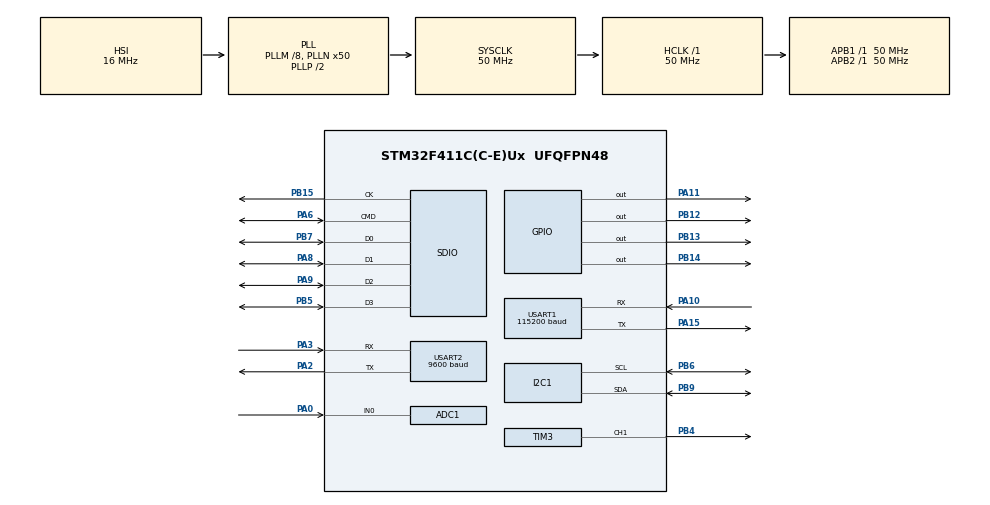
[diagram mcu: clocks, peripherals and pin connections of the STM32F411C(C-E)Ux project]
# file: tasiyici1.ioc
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ADC1.Channel-0\#ChannelRegularConversion=ADC_CHANNEL_0
ADC1.ContinuousConvMode=ENABLE
ADC1.NbrOfConversionFlag=1
ADC1.Rank-0\#ChannelRegularConversion=1
ADC1.SamplingTime-0\#ChannelRegularConversion=ADC_SAMPLETIME_3CYCLES
ADC1.master=1
Dma.Request0=USART1_TX
Dma.Request1=SDIO_TX
Dma.Request2=SDIO_RX
Dma.SDIO_RX.2.Direction=DMA_PERIPH_TO_MEMORY
Dma.SDIO_RX.2.FIFOMode=DMA_FIFOMODE_ENABLE
Dma.SDIO_RX.2.FIFOThreshold=DMA_FIFO_THRESHOLD_FULL
Dma.SDIO_RX.2.Instance=DMA2_Stream6
Dma.SDIO_RX.2.MemBurst=DMA_MBURST_INC4
Dma.SDIO_RX.2.MemDataAlignment=DMA_MDATAALIGN_WORD
Dma.SDIO_RX.2.MemInc=DMA_MINC_ENABLE
Dma.SDIO_RX.2.Mode=DMA_PFCTRL
Dma.SDIO_RX.2.PeriphBurst=DMA_PBURST_INC4
Dma.SDIO_RX.2.PeriphDataAlignment=DMA_PDATAALIGN_WORD
Dma.SDIO_RX.2.PeriphInc=DMA_PINC_DISABLE
Dma.SDIO_RX.2.Priority=DMA_PRIORITY_LOW
Dma.SDIO_TX.1.Direction=DMA_MEMORY_TO_PERIPH
Dma.SDIO_TX.1.FIFOMode=DMA_FIFOMODE_ENABLE
Dma.SDIO_TX.1.FIFOThreshold=DMA_FIFO_THRESHOLD_FULL
Dma.SDIO_TX.1.Instance=DMA2_Stream3
Dma.SDIO_TX.1.MemBurst=DMA_MBURST_INC4
Dma.SDIO_TX.1.MemDataAlignment=DMA_MDATAALIGN_WORD
Dma.SDIO_TX.1.MemInc=DMA_MINC_ENABLE
Dma.SDIO_TX.1.Mode=DMA_PFCTRL
Dma.SDIO_TX.1.PeriphBurst=DMA_PBURST_INC4
Dma.SDIO_TX.1.PeriphDataAlignment=DMA_PDATAALIGN_WORD
Dma.SDIO_TX.1.PeriphInc=DMA_PINC_DISABLE
Dma.SDIO_TX.1.Priority=DMA_PRIORITY_LOW
Dma.USART1_TX.0.Direction=DMA_MEMORY_TO_PERIPH
Dma.USART1_TX.0.FIFOMode=DMA_FIFOMODE_ENABLE
Dma.USART1_TX.0.FIFOThreshold=DMA_FIFO_THRESHOLD_FULL
Dma.USART1_TX.0.Instance=DMA2_Stream7
Dma.USART1_TX.0.MemBurst=DMA_MBURST_SINGLE
Dma.USART1_TX.0.MemDataAlignment=DMA_MDATAALIGN_BYTE
Dma.USART1_TX.0.MemInc=DMA_MINC_ENABLE
Dma.USART1_TX.0.Mode=DMA_CIRCULAR
Dma.USART1_TX.0.PeriphBurst=DMA_PBURST_SINGLE
Dma.USART1_TX.0.PeriphDataAlignment=DMA_PDATAALIGN_BYTE
Dma.USART1_TX.0.PeriphInc=DMA_PINC_DISABLE
Dma.USART1_TX.0.Priority=DMA_PRIORITY_LOW
FATFS.USE_DMA_CODE_SD=1
FATFS._MAX_SS=4096
Mcu.Family=STM32F4
Mcu.Name=STM32F411C(C-E)Ux
Mcu.Package=UFQFPN48
NVIC.DMA2_Stream3_IRQn=true\:0\:0\:false\:false\:true\:false\:true\:true
NVIC.DMA2_Stream6_IRQn=true\:0\:0\:false\:false\:true\:false\:true\:true
NVIC.DMA2_Stream7_IRQn=true\:0\:0\:false\:false\:true\:false\:true\:true
NVIC.PriorityGroup=NVIC_PRIORITYGROUP_4
NVIC.SDIO_IRQn=true\:0\:0\:false\:false\:true\:true\:true\:true
NVIC.USART2_IRQn=true\:0\:0\:false\:false\:true\:true\:true\:true
PA0-WKUP.Signal=ADCx_IN0
PA10.Mode=Asynchronous
PA10.Signal=USART1_RX
PA11.Signal=GPIO_Output
PA13.Mode=Serial_Wire
PA13.Signal=SYS_JTMS-SWDIO
PA14.Mode=Serial_Wire
PA14.Signal=SYS_JTCK-SWCLK
PA15.Mode=Asynchronous
PA15.Signal=USART1_TX
PA2.Mode=Asynchronous
PA2.Signal=USART2_TX
PA3.Mode=Asynchronous
PA3.Signal=USART2_RX
PA6.Mode=SD_4_bits_Wide_bus
PA6.Signal=SDIO_CMD
PA8.Mode=SD_4_bits_Wide_bus
PA8.Signal=SDIO_D1
PA9.Mode=SD_4_bits_Wide_bus
PA9.Signal=SDIO_D2
PB12.Signal=GPIO_Output
PB13.Signal=GPIO_Output
PB14.Signal=GPIO_Output
PB15.Mode=SD_4_bits_Wide_bus
PB15.Signal=SDIO_CK
PB4.Signal=S_TIM3_CH1
PB5.Mode=SD_4_bits_Wide_bus
PB5.Signal=SDIO_D3
PB6.Mode=I2C
PB6.Signal=I2C1_SCL
PB7.Mode=SD_4_bits_Wide_bus
PB7.Signal=SDIO_D0
PB9.Mode=I2C
PB9.Signal=I2C1_SDA
ProjectManager.HeapSize=0x200
ProjectManager.StackSize=0x400
ProjectManager.TargetToolchain=STM32CubeIDE
RCC.48MHZClocksFreq_Value=25000000
RCC.AHBFreq_Value=50000000
RCC.APB1Freq_Value=50000000
RCC.APB1TimFreq_Value=50000000
RCC.APB2Freq_Value=50000000
RCC.APB2TimFreq_Value=50000000
RCC.CortexFreq_Value=50000000
RCC.HCLKFreq_Value=50000000
RCC.HSE_VALUE=25000000
RCC.HSI_VALUE=16000000
RCC.LSE_VALUE=32768
RCC.PLLM=8
RCC.PLLN=50
RCC.SYSCLKFreq_VALUE=50000000
RCC.SYSCLKSource=RCC_SYSCLKSOURCE_PLLCLK
RCC.VCOOutputFreq_Value=100000000
SH.ADCx_IN0.0=ADC1_IN0,IN0
SH.S_TIM3_CH1.0=TIM3_CH1,PWM Generation1 CH1
TIM3.Channel-PWM\ Generation1\ CH1=TIM_CHANNEL_1
TIM3.Period=100-1
TIM3.Prescaler=183-1
USART1.BaudRate=115200
USART1.VirtualMode=VM_ASYNC
USART2.BaudRate=9600
USART2.VirtualMode=VM_ASYNC
VP_FATFS_VS_SDIO.Mode=SDIO
board=custom

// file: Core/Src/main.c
/* USER CODE BEGIN Header */
/**
  ******************************************************************************
  * @file           : main.c
  * @brief          : Main program body
  ******************************************************************************
  @ATTENTION !
  * 	##Explains CubeMX Variables & IO
  *
  * 	--> ADC_HandleTypeDef hadc1;	 ==> It relates to the 	"SubSys_Sensor_Battery_Driver"
  *
  * 	--> I2C_HandleTypeDef hi2c1;   	 ==> It relates to the 	"SubSys_Sensor_TPGVH_Driver"
  *
  * 	--> SD_HandleTypeDef  hsd;	   	 ==> It relates to the 	"SubSys_SDcard_Driver"
  *		--> SDIO_CK frequency 			 ==> 48MHz fixed
  *
  * 	--> TIM_HandleTypeDef htim3;  	 ==> It relates to the 	"SubSys_AlertControl_Driver"
  *
  *		--> UART_HandleTypeDef huart1; 	 ==> It relates to the 	"SubSys_WirelessCommunication_Setting_Driver" & "SubSys_WirelessCommunication_Telemetry_Driver"
  *		--> UART_HandleTypeDef huart2; 	 ==> It relates to the 	"SubSys_Sensor_GPS_Driver"
  *
  *		--> GPIO_TypeDef |PORT->A|	|GPIO_PIN_11| ==> GPS reset pin (will be reset status for enable sensor)
  *						 |PORT->B|	|GPIO_PIN_13| ==> LORA M0 configuration pin
  *						 |PORT->B|	|GPIO_PIN_14| ==> LORA M1 configuration pin
  *
  *
  *		##Wireless Communication configuration parameters
  *
  *		Satellite Carrier Unit's adress will be 0x1923  and channel is 0x10
  *		Satellite Payload Unit's adress will be 0x1453  and channel is 0x05
  *		Satellite Ground Station adress will be 0x2023  and channel is 0x10
  *
  *
  *		##Clean Code explanation
  *		"The __CLOSED expression can be written at the end of the header guard.
  *		 If you remove this part, the related code will work and complied
  ******************************************************************************
  */

/* USER CODE END Header */
#include "main.h"
#include "fatfs.h"

/* USER CODE BEGIN Includes */
	#include "SubSys_Sensor_Battery_Driver.h"
	#include "SubSys_Sensor_TPGVH_Driver.h"
	#include "SubSys_AlertControl_Driver.h"
	#include "SubSys_SDcard_Driver.h"
	#include "SubSys_Sensor_GPS_Driver.h"
	#include "SubSys_WirelessCommunication_Setting_Driver.h"
	#include "SubSys_WirelessCommunication_Telemetry_Driver.h"

/* USER CODE END Includes */

/* USER CODE BEGIN PD */
#define SAT_Carrier_SDCode_Variables_Active
/*
	 ===============================================================================
	                      ##### DEFINITIONS #####
	 ===============================================================================
*/

	/**!
	 * Pressure Temperature Sensor (MS5611) Definitions
	 */
	#define MS5611_I2C_ADDRESS_H 0xEE		/*! CSB pin is HIGH */
	#define MS5611_I2C_ADDRESS_L 0xEC 		/*! CSB pin is LOW  */

/* USER CODE END PD */

ADC_HandleTypeDef hadc1;

I2C_HandleTypeDef hi2c1;

SD_HandleTypeDef hsd;
DMA_HandleTypeDef hdma_sdio_tx;
DMA_HandleTypeDef hdma_sdio_rx;

TIM_HandleTypeDef htim3;

UART_HandleTypeDef huart1;
UART_HandleTypeDef huart2;
DMA_HandleTypeDef hdma_usart1_tx;

/* USER CODE BEGIN PV */

/*
	 ===============================================================================
	                      ##### MULTIPLE VARIABLE #####
	 ===============================================================================
*/
	/**!
	 * SubSys_Sensor_Battery_Driver variables
	 */
	uint8_t NumSerialBat=0;			/*! Number of serial connection battery */
	float BatteryVoltage=0.0;			/*! Voltage of the Satellite's battery  */

	/**!
	 * SubSys_Sensor_TPGVH_Driver variables
	 */
	MS5611_HandleTypeDef MS5611;	/*! MS5611 object					*/
	float  MS5611_Press=0.0;		/*! Pressure data variable 			*/
	float  MS5611_Temp=0.0;			/*! Temperature data variable 		*/
	float  MS5611_Altitude;			/*! Vertical Altitude data variable */
	float  MS5611_VertSpeed;		/*! Vertical Speed data variable    */
	float  MS5611_VertAcc;			/*! Vertical Acceleration variable  */
	float  MS5611_gForce;			/*! Vertical g force data variable  */
	float  SatCar_Mass;				/*! Total mass of Satellites Carrier module */

	/**!
	 * SubSys_Sensor_GPS_Driver variables
	 */
	float GPS_Altitude;				/*! Vertical distance info of satellite beetween */
	float GPS_Longitude;			/*! Location info of satellite on the earth 	 */
	float GPS_Latitude;				/*! Location info of satellite on the earth 	 */

	/**! We create 2 object for subsystem wireless communication,
	 * 	one of them is about configuration setting of wirelesscom device
	 * 	other one is about application object
	 */
	SubSys_WirelesscomConfig_HandleTypeDef dev_WirelessComConfig;
	SubSys_WirelessCom_APP_HandleTypeDef dev_WirelessComApp;

/*
	 ===============================================================================
						  ##### SINGLE VARIABLE #####
	 ===============================================================================
*/
	/**
	 * All system units will be work together at 1Hz
	 */
	uint32_t SystemTick;

	/**
	 * USB-TTL variables, collected datas are sent to Station PC
	 * (The code block has been commented out within the while loop)
	 */
	uint8_t TelemetryData[100]={0};
	uint8_t WrittenBytesTTL;

/* USER CODE END PV */

void SystemClock_Config(void);
static void MX_GPIO_Init(void);
static void MX_DMA_Init(void);
static void MX_ADC1_Init(void);
static void MX_USART1_UART_Init(void);
static void MX_I2C1_Init(void);
static void MX_TIM3_Init(void);
static void MX_SDIO_SD_Init(void);
static void MX_USART2_UART_Init(void);

int main(void)
{

  /* MCU Configuration--------------------------------------------------------*/

  /* Reset of all peripherals, Initializes the Flash interface and the Systick. */
  HAL_Init();

  /* Configure the system clock */
  SystemClock_Config();

  /* Initialize all configured peripherals */
  MX_GPIO_Init();
  MX_DMA_Init();
  MX_ADC1_Init();
  MX_USART1_UART_Init();
  MX_I2C1_Init();
  MX_TIM3_Init();
  MX_SDIO_SD_Init();
  MX_FATFS_Init();
  MX_USART2_UART_Init();
  /* USER CODE BEGIN 2 */

/******>>> SENSOR BATTERY INIT BEGIN >>>******/
	#ifdef SAT_CARRIER_SUBSYS_DRIVERS_SENSOR_BATTERY_H__CLOSED
	NumSerialBat = 1;	/*! Number of serial connection battery */
	MeasBattery_Init(NumSerialBat);
	#endif
/******<<< SENSOR BATTERY INIT END <<<******/

/******>>> SENSOR TPGVH INITIALIZATION BEGIN >>>******/
	#ifdef SAT_CARRIER_SUBSYS_DRIVERS_SENSOR_TPGVH_H
	MS5611.I2C_ADDRESS = MS5611_I2C_ADDRESS_H;
	MS5611.i2c = &hi2c1;
	MS5611.Ref_Alt_Sel = 'm';
	MS5611_Init(&MS5611);
	#endif
/******<<< SENSOR TPGVH INITIALIZATION END <<<******/

/******>>> ALERT CONTROL INITIALIZATION BEGIN >>>******/
	#ifdef SAT_CARRIER_SUBSYS_DRIVER_ALERTCONTROL_H__CLOSED
	/**!
	 * @Attention!
	 *
	 * @Calculation ==> ![Duty cycle must be %50 according to  the datasheet]
	 * 					 We sets ARR value as 100 at the beginnig
	 * 					 Frequency  = (APB Tim Clock) / ((PSC)*(ARR))
	 *					 Duty Cycle = ((CCRx/ARR)*100)
	 *
	 * APB1 Timer Clock = 50MHz
	 * PSC = 183-1
	 * ARR = 100-1
	 * PSC and ARR's parameters for 2.73KHz passive buzzer module
	 */
	PassiveBuzz_Init(&htim3, TIM_CHANNEL_1);
	#endif
/******<<< ALERT CONTROL INITIALIZATION END <<<******/

/******>>> SD CARD INITIALIZATION BEGIN >>>******/
	#ifdef SAT_CARRIER_SUBSYS_DRIVERS_SDCARD_H__CLOSED
	/*! We create a buffer that contains the satellite's carrier variables, and we fill it with variables from SD_Data objects */
	extern char SdDatasBuf[LineSize];

	/*!(@warning)	Don't write "E:" , "e:",  "e\" */
	SD_Mount("E/", 0);

	/*
	 * @instructions :
	 * 				First of all, We create a directiory as named "SAT_CAR",
	 * 				Secondly give a name for system txt document as named "STM32.TXT"
	 * 				Finally put our variable buffer
	 *
	 * @Attention!   : If you use lowercase letters, this function will reverse the name to uppercase letters as given below
	 * 					(e.g)CAR_Raw ==> CAR_RAW
	 */
	SD_Create_Dir_File("SAT_CAR", "SAT_CAR/STM32.TXT", SdDatasBuf);
	#endif
/******<<< SD CARD INITIALIZATION END <<<******/

/******>>> SENSOR GPS INITIALIZATION BEGIN >>>******/
	#ifdef SAT_CARRIER_SUBSYS_DRIVERS_SENSOR_GPS_H__CLOSED
	HAL_GPIO_WritePin(GPIOA, GPIO_PIN_11, GPIO_PIN_SET);
	GPS_Init();
	HAL_GPIO_WritePin(GPIOA, GPIO_PIN_11, GPIO_PIN_RESET);
	#endif
/******<<< SENSOR GPS INITIALIZATION END <<<******/

/******>>> WIRELESS COMMUNICATION SETTING & TELEMETRY INITIALIZATION BEGIN >>>******/
	/**
	 * @brief : First of all, we upload initial settings into the wireless communication device.
	 * 		  After that, we determine Target Address high and low byte and Target Channel.
	 * 		  Some LoRa module has two pin as named M0 and M1. These provides selecting working mode
	 * 		  For E220400T30 are M0 and M1 pins.
	 * @note  : If you use dma for receiving and transmiting, fill it parameters that
	 *		  come after channel info
	 */
	 #ifdef SAT_CARRIER_SUBSYS_DRIVERS_WIRELESSCOMMUNICATION_SETTING_H__CLOSED

	 dev_WirelessComConfig.interface.huart = &huart1;
	 dev_WirelessComConfig.interface.GPIOx = GPIOB;
	 dev_WirelessComConfig.LORA_PIN_M0= GPIO_PIN_14;
	 dev_WirelessComConfig.LORA_PIN_M1= GPIO_PIN_13;
	 dev_WirelessComConfig.Mode_SW = DeepSleep; 		/*! Module goes to sleep, that provides you to configure settings */

	 SubSys_WirelessCom_Config_Init(&dev_WirelessComConfig);

	 #endif

	 #ifdef SAT_CARRIER_SUBSYS_DRIVERS_WIRELESSCOMMUNICATION_TELEMETRY_H

	 /*! Will be filled for your dev that use now*/
	 dev_WirelessComApp.huartX = &huart1;
	 dev_WirelessComConfig.Mode_SW = NormalMode; 		/*! UART and wireless channel are open, transparent transmission is on*/
	 SubSys_WirelessCom_Config_WORK_MODE(&dev_WirelessComConfig);

	 /*! Will be filled for the PAYLOAD(Target) Device */
	 dev_WirelessComApp.Target_ADDH = 0x14;
	 dev_WirelessComApp.Target_ADDL = 0x53;
	 dev_WirelessComApp.Target_Ch   = 0x05;

	 #endif
/******<<< WIRELESS COMMUNICATION SETTING & TELEMETRY INITIALIZATION END <<<******/

  /* USER CODE END 2 */

  /* Infinite loop */
  /* USER CODE BEGIN WHILE */
  while (1)
  {

	   /*! At the beginning of each loop, the system retrieves the last recorded milliseconds */
	   SystemTick = HAL_GetTick();

	   /*! It reads the battery voltage and stores it */
	   //ReadBatteryVoltage(&hadc1);

	  /*! It reads the TPGVH data and saves it into the variables created in the system
	   * (T) = Temperature
	   * (P) = Pressure
	   * (G) = G force
	   * (V) = Vertical Speed
	   * (H) = Vertical Height
	   **/
	   MS5611_Read_ActVal(&MS5611);

	   /*! The collected data is stored into variables that created for the SD card */
	   //SD_FillVariables();

	   /*! The recorded variables are written to the SD card */
	   //SD_Write(SdDatasBuf,"SAT_CAR/STM32.TXT");

	   /*! This block is used to send the collected data to the Station PC using USB-TTL */
//
//				  WrittenBytes = sprintf(TelemetryData,
//													  "<%.1f> <%.1f> <%.1f> <%.1f> <%.1f> \n",
//																							  BatteryVoltage , MS5611_Press,MS5611_Temp,
//																							  MS5611_Altitude, MS5611_VertSpeed,
//																							  GPS_Latitude   , GPS_Longitude,
//																							  GPS_Altitude);
//				  HAL_UART_Transmit(&huart1, TelemetryData, WrittenBytes, 1000);

	   /*! Transfer all necessary datas from Carrier to Payload of Satellite*/
	   SubSys_WirelessCom_Telemetry_Transfer_From_To(Sat_Carrier, Sat_Payload, &dev_WirelessComApp);

	   /*! The system time is retrieved again and the loop waits until the elapsed time reaches 1000 milliseconds*/
	   HAL_Delay(abs(1000 - (HAL_GetTick()-SystemTick)));

    /* USER CODE END WHILE */

  }
}

void SystemClock_Config(void)
{
  RCC_OscInitTypeDef RCC_OscInitStruct = {0};
  RCC_ClkInitTypeDef RCC_ClkInitStruct = {0};

  /** Configure the main internal regulator output voltage
  */
  __HAL_RCC_PWR_CLK_ENABLE();
  __HAL_PWR_VOLTAGESCALING_CONFIG(PWR_REGULATOR_VOLTAGE_SCALE1);

  /** Initializes the RCC Oscillators according to the specified parameters
  * in the RCC_OscInitTypeDef structure.
  */
  RCC_OscInitStruct.OscillatorType = RCC_OSCILLATORTYPE_HSI;
  RCC_OscInitStruct.HSIState = RCC_HSI_ON;
  RCC_OscInitStruct.HSICalibrationValue = RCC_HSICALIBRATION_DEFAULT;
  RCC_OscInitStruct.PLL.PLLState = RCC_PLL_ON;
  RCC_OscInitStruct.PLL.PLLSource = RCC_PLLSOURCE_HSI;
  RCC_OscInitStruct.PLL.PLLM = 8;
  RCC_OscInitStruct.PLL.PLLN = 50;
  RCC_OscInitStruct.PLL.PLLP = RCC_PLLP_DIV2;
  RCC_OscInitStruct.PLL.PLLQ = 4;
  if (HAL_RCC_OscConfig(&RCC_OscInitStruct) != HAL_OK)
  {
    Error_Handler();
  }

  /** Initializes the CPU, AHB and APB buses clocks
  */
  RCC_ClkInitStruct.ClockType = RCC_CLOCKTYPE_HCLK|RCC_CLOCKTYPE_SYSCLK
                              |RCC_CLOCKTYPE_PCLK1|RCC_CLOCKTYPE_PCLK2;
  RCC_ClkInitStruct.SYSCLKSource = RCC_SYSCLKSOURCE_PLLCLK;
  RCC_ClkInitStruct.AHBCLKDivider = RCC_SYSCLK_DIV1;
  RCC_ClkInitStruct.APB1CLKDivider = RCC_HCLK_DIV1;
  RCC_ClkInitStruct.APB2CLKDivider = RCC_HCLK_DIV1;

  if (HAL_RCC_ClockConfig(&RCC_ClkInitStruct, FLASH_LATENCY_1) != HAL_OK)
  {
    Error_Handler();
  }
}

static void MX_ADC1_Init(void)
{

  ADC_ChannelConfTypeDef sConfig = {0};

  /** Configure the global features of the ADC (Clock, Resolution, Data Alignment and number of conversion)
  */
  hadc1.Instance = ADC1;
  hadc1.Init.ClockPrescaler = ADC_CLOCK_SYNC_PCLK_DIV2;
  hadc1.Init.Resolution = ADC_RESOLUTION_12B;
  hadc1.Init.ScanConvMode = DISABLE;
  hadc1.Init.ContinuousConvMode = ENABLE;
  hadc1.Init.DiscontinuousConvMode = DISABLE;
  hadc1.Init.ExternalTrigConvEdge = ADC_EXTERNALTRIGCONVEDGE_NONE;
  hadc1.Init.ExternalTrigConv = ADC_SOFTWARE_START;
  hadc1.Init.DataAlign = ADC_DATAALIGN_RIGHT;
  hadc1.Init.NbrOfConversion = 1;
  hadc1.Init.DMAContinuousRequests = DISABLE;
  hadc1.Init.EOCSelection = ADC_EOC_SINGLE_CONV;
  if (HAL_ADC_Init(&hadc1) != HAL_OK)
  {
    Error_Handler();
  }

  /** Configure for the selected ADC regular channel its corresponding rank in the sequencer and its sample time.
  */
  sConfig.Channel = ADC_CHANNEL_0;
  sConfig.Rank = 1;
  sConfig.SamplingTime = ADC_SAMPLETIME_3CYCLES;
  if (HAL_ADC_ConfigChannel(&hadc1, &sConfig) != HAL_OK)
  {
    Error_Handler();
  }

}

static void MX_I2C1_Init(void)
{

  hi2c1.Instance = I2C1;
  hi2c1.Init.ClockSpeed = 100000;
  hi2c1.Init.DutyCycle = I2C_DUTYCYCLE_2;
  hi2c1.Init.OwnAddress1 = 0;
  hi2c1.Init.AddressingMode = I2C_ADDRESSINGMODE_7BIT;
  hi2c1.Init.DualAddressMode = I2C_DUALADDRESS_DISABLE;
  hi2c1.Init.OwnAddress2 = 0;
  hi2c1.Init.GeneralCallMode = I2C_GENERALCALL_DISABLE;
  hi2c1.Init.NoStretchMode = I2C_NOSTRETCH_DISABLE;
  if (HAL_I2C_Init(&hi2c1) != HAL_OK)
  {
    Error_Handler();
  }

}

static void MX_SDIO_SD_Init(void)
{

  hsd.Instance = SDIO;
  hsd.Init.ClockEdge = SDIO_CLOCK_EDGE_RISING;
  hsd.Init.ClockBypass = SDIO_CLOCK_BYPASS_DISABLE;
  hsd.Init.ClockPowerSave = SDIO_CLOCK_POWER_SAVE_DISABLE;
  hsd.Init.BusWide = SDIO_BUS_WIDE_1B;
  hsd.Init.HardwareFlowControl = SDIO_HARDWARE_FLOW_CONTROL_DISABLE;
  hsd.Init.ClockDiv = 0;

}

static void MX_TIM3_Init(void)
{

  TIM_MasterConfigTypeDef sMasterConfig = {0};
  TIM_OC_InitTypeDef sConfigOC = {0};

  htim3.Instance = TIM3;
  htim3.Init.Prescaler = 183-1;
  htim3.Init.CounterMode = TIM_COUNTERMODE_UP;
  htim3.Init.Period = 100-1;
  htim3.Init.ClockDivision = TIM_CLOCKDIVISION_DIV1;
  htim3.Init.AutoReloadPreload = TIM_AUTORELOAD_PRELOAD_DISABLE;
  if (HAL_TIM_PWM_Init(&htim3) != HAL_OK)
  {
    Error_Handler();
  }
  sMasterConfig.MasterOutputTrigger = TIM_TRGO_RESET;
  sMasterConfig.MasterSlaveMode = TIM_MASTERSLAVEMODE_DISABLE;
  if (HAL_TIMEx_MasterConfigSynchronization(&htim3, &sMasterConfig) != HAL_OK)
  {
    Error_Handler();
  }
  sConfigOC.OCMode = TIM_OCMODE_PWM1;
  sConfigOC.Pulse = 0;
  sConfigOC.OCPolarity = TIM_OCPOLARITY_HIGH;
  sConfigOC.OCFastMode = TIM_OCFAST_DISABLE;
  if (HAL_TIM_PWM_ConfigChannel(&htim3, &sConfigOC, TIM_CHANNEL_1) != HAL_OK)
  {
    Error_Handler();
  }
  HAL_TIM_MspPostInit(&htim3);

}

static void MX_USART1_UART_Init(void)
{

  huart1.Instance = USART1;
  huart1.Init.BaudRate = 115200;
  huart1.Init.WordLength = UART_WORDLENGTH_8B;
  huart1.Init.StopBits = UART_STOPBITS_1;
  huart1.Init.Parity = UART_PARITY_NONE;
  huart1.Init.Mode = UART_MODE_TX_RX;
  huart1.Init.HwFlowCtl = UART_HWCONTROL_NONE;
  huart1.Init.OverSampling = UART_OVERSAMPLING_16;
  if (HAL_UART_Init(&huart1) != HAL_OK)
  {
    Error_Handler();
  }

}

static void MX_USART2_UART_Init(void)
{

  huart2.Instance = USART2;
  huart2.Init.BaudRate = 9600;
  huart2.Init.WordLength = UART_WORDLENGTH_8B;
  huart2.Init.StopBits = UART_STOPBITS_1;
  huart2.Init.Parity = UART_PARITY_NONE;
  huart2.Init.Mode = UART_MODE_TX_RX;
  huart2.Init.HwFlowCtl = UART_HWCONTROL_NONE;
  huart2.Init.OverSampling = UART_OVERSAMPLING_16;
  if (HAL_UART_Init(&huart2) != HAL_OK)
  {
    Error_Handler();
  }

}

static void MX_DMA_Init(void)
{

  /* DMA controller clock enable */
  __HAL_RCC_DMA2_CLK_ENABLE();

  /* DMA interrupt init */
  /* DMA2_Stream3_IRQn interrupt configuration */
  HAL_NVIC_SetPriority(DMA2_Stream3_IRQn, 0, 0);
  HAL_NVIC_EnableIRQ(DMA2_Stream3_IRQn);
  /* DMA2_Stream6_IRQn interrupt configuration */
  HAL_NVIC_SetPriority(DMA2_Stream6_IRQn, 0, 0);
  HAL_NVIC_EnableIRQ(DMA2_Stream6_IRQn);
  /* DMA2_Stream7_IRQn interrupt configuration */
  HAL_NVIC_SetPriority(DMA2_Stream7_IRQn, 0, 0);
  HAL_NVIC_EnableIRQ(DMA2_Stream7_IRQn);

}

static void MX_GPIO_Init(void)
{
  GPIO_InitTypeDef GPIO_InitStruct = {0};

  /* GPIO Ports Clock Enable */
  __HAL_RCC_GPIOA_CLK_ENABLE();
  __HAL_RCC_GPIOB_CLK_ENABLE();

  /*Configure GPIO pin Output Level */
  HAL_GPIO_WritePin(GPIOB, GPIO_PIN_12|GPIO_PIN_13|GPIO_PIN_14, GPIO_PIN_RESET);

  /*Configure GPIO pin Output Level */
  HAL_GPIO_WritePin(GPIOA, GPIO_PIN_11, GPIO_PIN_RESET);

  /*Configure GPIO pins : PB12 PB13 PB14 */
  GPIO_InitStruct.Pin = GPIO_PIN_12|GPIO_PIN_13|GPIO_PIN_14;
  GPIO_InitStruct.Mode = GPIO_MODE_OUTPUT_PP;
  GPIO_InitStruct.Pull = GPIO_NOPULL;
  GPIO_InitStruct.Speed = GPIO_SPEED_FREQ_LOW;
  HAL_GPIO_Init(GPIOB, &GPIO_InitStruct);

  /*Configure GPIO pin : PA11 */
  GPIO_InitStruct.Pin = GPIO_PIN_11;
  GPIO_InitStruct.Mode = GPIO_MODE_OUTPUT_PP;
  GPIO_InitStruct.Pull = GPIO_NOPULL;
  GPIO_InitStruct.Speed = GPIO_SPEED_FREQ_LOW;
  HAL_GPIO_Init(GPIOA, &GPIO_InitStruct);

}

void Error_Handler(void)
{
  __disable_irq();
  while (1)
  {
  }
}
